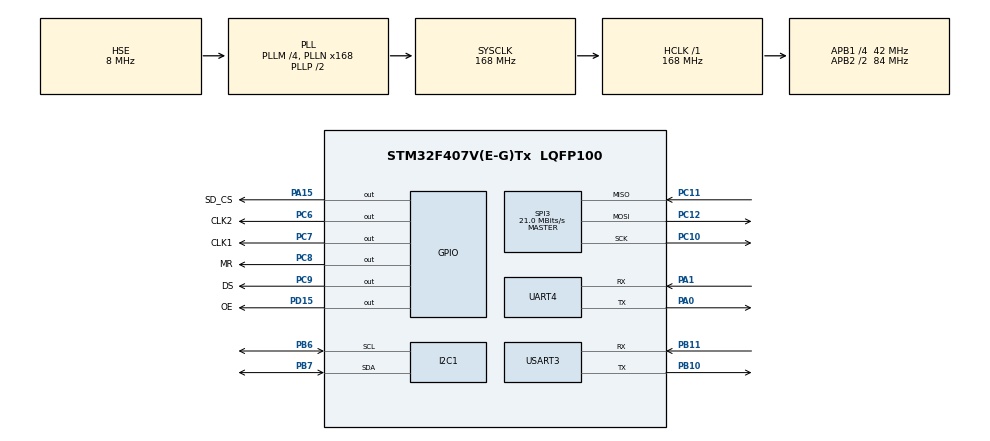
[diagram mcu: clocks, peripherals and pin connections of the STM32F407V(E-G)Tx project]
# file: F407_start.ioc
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FATFS._MAX_SS=4096
FATFS._USE_LFN=1
Mcu.Family=STM32F4
Mcu.Name=STM32F407V(E-G)Tx
Mcu.Package=LQFP100
NVIC.PriorityGroup=NVIC_PRIORITYGROUP_4
NVIC.TIM2_IRQn=true\:0\:0\:false\:false\:true\:true\:true\:true
NVIC.TIM3_IRQn=true\:0\:0\:false\:false\:true\:true\:true\:true
NVIC.USART3_IRQn=true\:0\:0\:false\:false\:true\:true\:true\:true
PA0-WKUP.Mode=Asynchronous
PA0-WKUP.Signal=UART4_TX
PA1.Mode=Asynchronous
PA1.Signal=UART4_RX
PA13.Mode=Serial_Wire
PA13.Signal=SYS_JTMS-SWDIO
PA14.Mode=Serial_Wire
PA14.Signal=SYS_JTCK-SWCLK
PA15.GPIO_Label=SD_CS
PA15.Signal=GPIO_Output
PB10.Mode=Asynchronous
PB10.Signal=USART3_TX
PB11.Mode=Asynchronous
PB11.Signal=USART3_RX
PB6.GPIO_Mode=GPIO_MODE_AF_OD
PB6.GPIO_Pu=GPIO_NOPULL
PB6.GPIO_Speed=GPIO_SPEED_FREQ_VERY_HIGH
PB6.Mode=I2C
PB6.Signal=I2C1_SCL
PB7.GPIO_Mode=GPIO_MODE_AF_OD
PB7.GPIO_Pu=GPIO_NOPULL
PB7.GPIO_Speed=GPIO_SPEED_FREQ_VERY_HIGH
PB7.Mode=I2C
PB7.Signal=I2C1_SDA
PC10.Mode=Full_Duplex_Master
PC10.Signal=SPI3_SCK
PC11.Mode=Full_Duplex_Master
PC11.Signal=SPI3_MISO
PC12.Mode=Full_Duplex_Master
PC12.Signal=SPI3_MOSI
PC6.GPIO_Label=CLK2
PC6.Signal=GPIO_Output
PC7.GPIO_Label=CLK1
PC7.Signal=GPIO_Output
PC8.GPIO_Label=MR
PC8.Signal=GPIO_Output
PC9.GPIO_Label=DS
PC9.Signal=GPIO_Output
PD15.GPIO_Label=OE
PD15.Signal=GPIO_Output
PH0-OSC_IN.Mode=HSE-External-Oscillator
PH0-OSC_IN.Signal=RCC_OSC_IN
PH1-OSC_OUT.Mode=HSE-External-Oscillator
PH1-OSC_OUT.Signal=RCC_OSC_OUT
ProjectManager.HeapSize=0x200
ProjectManager.StackSize=0x400
ProjectManager.TargetToolchain=STM32CubeIDE
RCC.48MHZClocksFreq_Value=84000000
RCC.AHBFreq_Value=168000000
RCC.APB1CLKDivider=RCC_HCLK_DIV4
RCC.APB1Freq_Value=42000000
RCC.APB1TimFreq_Value=84000000
RCC.APB2CLKDivider=RCC_HCLK_DIV2
RCC.APB2Freq_Value=84000000
RCC.APB2TimFreq_Value=168000000
RCC.CortexFreq_Value=168000000
RCC.HCLKFreq_Value=168000000
RCC.HSE_VALUE=8000000
RCC.HSI_VALUE=16000000
RCC.LSE_VALUE=32768
RCC.PLLM=4
RCC.PLLN=168
RCC.PLLSourceVirtual=RCC_PLLSOURCE_HSE
RCC.SYSCLKFreq_VALUE=168000000
RCC.SYSCLKSource=RCC_SYSCLKSOURCE_PLLCLK
RCC.VCOOutputFreq_Value=336000000
SPI3.CalculateBaudRate=21.0 MBits/s
SPI3.Direction=SPI_DIRECTION_2LINES
SPI3.Mode=SPI_MODE_MASTER
SPI3.VirtualType=VM_MASTER
TIM2.Period=4999
TIM2.Prescaler=83
TIM3.Period=65535
TIM3.Prescaler=1249
UART4.VirtualMode=Asynchronous
USART3.VirtualMode=VM_ASYNC
VP_FATFS_VS_Generic.Mode=User_defined
VP_TIM2_VS_ClockSourceINT.Mode=Internal
VP_TIM3_VS_ClockSourceINT.Mode=Internal
board=custom

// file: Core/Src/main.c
/* USER CODE BEGIN Header */
/**
  ******************************************************************************
  * @file           : main.c
  * @brief          : Main program body
  ******************************************************************************
  * @attention
  *
  * Copyright (c) 2024 STMicroelectronics.
  * All rights reserved.
  *
  * This software is licensed under terms that can be found in the LICENSE file
  * in the root directory of this software component.
  * If no LICENSE file comes with this software, it is provided AS-IS.
  *
  ******************************************************************************
  */
/* USER CODE END Header */
#include "main.h"
#include "fatfs.h"

/* USER CODE BEGIN Includes */
#include "ds3231.h"
#include "fatfs_sd.h"
#include "string.h"
#include "stdlib.h"
#include "midi.h"
#include "flash_service.h"
#include "server.h"
//#include "handlers/time_handlers.h"
/* USER CODE END Includes */

I2C_HandleTypeDef hi2c1;

SPI_HandleTypeDef hspi3;

TIM_HandleTypeDef htim2;
TIM_HandleTypeDef htim3;

UART_HandleTypeDef huart4;
UART_HandleTypeDef huart3;

void SystemClock_Config(void);
static void MX_GPIO_Init(void);
static void MX_TIM2_Init(void);
static void MX_SPI3_Init(void);
static void MX_UART4_Init(void);
static void MX_USART3_UART_Init(void);
static void MX_I2C1_Init(void);
static void MX_TIM3_Init(void);

/* USER CODE BEGIN 0 */

void shift_reg_init(){
	HAL_GPIO_WritePin(MR_GPIO_Port, MR_Pin, 1);
	HAL_GPIO_WritePin(OE_GPIO_Port, OE_Pin, 0);
}

void put_val_to_shift_reg(uint16_t val){
	int c = 0;
	while(c < 16){
		HAL_GPIO_WritePin(DS_GPIO_Port, DS_Pin, val & 1);
		val >>= 1;
		HAL_GPIO_WritePin(CLK1_GPIO_Port, CLK1_Pin, 1);
		HAL_GPIO_WritePin(CLK1_GPIO_Port, CLK1_Pin, 0);
		c++;
	}
	HAL_GPIO_WritePin(CLK2_GPIO_Port, CLK2_Pin, 1);
	HAL_GPIO_WritePin(CLK2_GPIO_Port, CLK2_Pin, 0);
}

void clear_shift_reg(){
	HAL_GPIO_WritePin(MR_GPIO_Port, MR_Pin, 0);
	HAL_GPIO_WritePin(MR_GPIO_Port, MR_Pin, 1);

	HAL_GPIO_WritePin(CLK2_GPIO_Port, CLK2_Pin, 1);
	HAL_GPIO_WritePin(CLK2_GPIO_Port, CLK2_Pin, 0);
}

FATFS fs;
FIL fil;
FILINFO finfo;
FRESULT fresult;
char buffer[1024];

UINT br, bw;

MidiPlaybackContext playback_ctx;
extern TIME time;

void HAL_TIM_PeriodElapsedCallback(TIM_HandleTypeDef *htim) {
	if (htim == &htim3){
        DS3231_Get_Time();
        send_time();
        checkAlarmsNonBlocking();
        processAlarm();
	}
    if (htim == &htim2) {
//    	char dbg[128];
//    	static uint32_t last_time = 0;
//    	uint32_t now = HAL_GetTick();  // in ms
//    	sprintf(dbg, "Time last callback: %lu ms\r\n", now - last_time);
//    	last_time = now;
//		send_uart(dbg);
		process_midi_event(&playback_ctx);
    }
}

void send_uart (char *string){
	uint8_t len = strlen(string);
	HAL_UART_Transmit(&huart4, (uint8_t *) string , len, -1);
}

int bufsize( char *buf){
	int i=0;
	while(*buf++ != '\0') i++;
	return i;
}

void bufclear (void)
{
	for (int i = 0; i < 1024; i++){
		buffer[i] = '\0';
	}
}

void get_sd_dirs(char *path){
	send_uart("READING MEMORY xD \n\r");
	DIR dir;
	char string[128];

	FRESULT res = f_opendir(&dir, path);

	if (res != FR_OK){
		sprintf(string, "res = %d f_opendir\n\r", res);
		send_uart(string);
	}

	if (res == FR_OK)
	{
	  while(1)
	  {
		FILINFO fno;

		res = f_readdir(&dir, &fno);

		if (res != FR_OK){
			sprintf(string, "res = %d f_readdir\n\r", res);
			send_uart(string);
		}

		if ((res != FR_OK) || (fno.fname[0] == 0))
		  break;

		sprintf(string, "%c%c%c%c %10d %s/%s\n\r",
		  ((fno.fattrib & AM_DIR) ? 'D' : '-'),
		  ((fno.fattrib & AM_RDO) ? 'R' : '-'),
		  ((fno.fattrib & AM_SYS) ? 'S' : '-'),
		  ((fno.fattrib & AM_HID) ? 'H' : '-'),
		  (int)fno.fsize, path, fno.fname);

		send_uart(string);
	  }
	}
}

void send_time() {
  if (should_send_time()) {
//	  send_uart("send time\r\n");
	SyncTime cur;
	cur.day = time.dayofmonth;
	cur.month = time.month;
	cur.year = time.year + 2000; // Точно проверь пж
	cur.hours = time.hour;
	cur.minutes = time.minutes;
	cur.seconds = time.seconds;
	send_command(SEP_SERVER_TIME, &cur);
  }
}

/* USER CODE END 0 */

int main(void)
{

  /* MCU Configuration--------------------------------------------------------*/

  /* Reset of all peripherals, Initializes the Flash interface and the Systick. */
  HAL_Init();

  /* Configure the system clock */
  SystemClock_Config();

  /* Initialize all configured peripherals */
  MX_GPIO_Init();
  MX_TIM2_Init();
  MX_FATFS_Init();
  MX_SPI3_Init();
  MX_UART4_Init();
  MX_USART3_UART_Init();
  MX_I2C1_Init();
  MX_TIM3_Init();
  /* USER CODE BEGIN 2 */

  HAL_Delay(1000);
  send_uart ("Lift off\n\r");
  shift_reg_init();

  fresult = f_mount(&fs, "", 0);
  if (fresult != FR_OK) send_uart ("error in mounting SD CARD ... \n\r");
  else send_uart("SD CARD mounted successfully...\n\r");

  /* USER CODE END 2 */

  /* Infinite loop */
  /* USER CODE BEGIN WHILE */

//  init_server();
//  HAL_TIM_Base_Start_IT(&htim3);
//  initAlarm();
  uint signal = 30;
  char dbg[64];
  while(1){
	  uint8_t byte;
	  HAL_UART_Receive(&huart4, &byte, 1, -1);
//	  put_val_to_shift_reg(1 << 6 | 1 << 7);
//	  HAL_Delay(signal);
//	  clear_shift_reg();
//	  signal+=10;
//	  sprintf(dbg, "signal = %d\n\r", signal);
//	  send_uart(dbg);
	  play_midi("two_bells8.mid");
  }
  while (1)
  {
	  handle_command();
	  handle_packet();
    handle_send_buffer();
	  send_time();
  }

    /* USER CODE END WHILE */

    /* USER CODE BEGIN 3 */

  fresult = f_mount(NULL, "/", 1);
  if (fresult == FR_OK) send_uart ("SD CARD UNMOUNTED successfully...\n\r");
  /* USER CODE END 3 */
}

void SystemClock_Config(void)
{
  RCC_OscInitTypeDef RCC_OscInitStruct = {0};
  RCC_ClkInitTypeDef RCC_ClkInitStruct = {0};

  /** Configure the main internal regulator output voltage
  */
  __HAL_RCC_PWR_CLK_ENABLE();
  __HAL_PWR_VOLTAGESCALING_CONFIG(PWR_REGULATOR_VOLTAGE_SCALE1);

  /** Initializes the RCC Oscillators according to the specified parameters
  * in the RCC_OscInitTypeDef structure.
  */
  RCC_OscInitStruct.OscillatorType = RCC_OSCILLATORTYPE_HSE;
  RCC_OscInitStruct.HSEState = RCC_HSE_ON;
  RCC_OscInitStruct.PLL.PLLState = RCC_PLL_ON;
  RCC_OscInitStruct.PLL.PLLSource = RCC_PLLSOURCE_HSE;
  RCC_OscInitStruct.PLL.PLLM = 4;
  RCC_OscInitStruct.PLL.PLLN = 168;
  RCC_OscInitStruct.PLL.PLLP = RCC_PLLP_DIV2;
  RCC_OscInitStruct.PLL.PLLQ = 4;
  if (HAL_RCC_OscConfig(&RCC_OscInitStruct) != HAL_OK)
  {
    Error_Handler();
  }

  /** Initializes the CPU, AHB and APB buses clocks
  */
  RCC_ClkInitStruct.ClockType = RCC_CLOCKTYPE_HCLK|RCC_CLOCKTYPE_SYSCLK
                              |RCC_CLOCKTYPE_PCLK1|RCC_CLOCKTYPE_PCLK2;
  RCC_ClkInitStruct.SYSCLKSource = RCC_SYSCLKSOURCE_PLLCLK;
  RCC_ClkInitStruct.AHBCLKDivider = RCC_SYSCLK_DIV1;
  RCC_ClkInitStruct.APB1CLKDivider = RCC_HCLK_DIV4;
  RCC_ClkInitStruct.APB2CLKDivider = RCC_HCLK_DIV2;

  if (HAL_RCC_ClockConfig(&RCC_ClkInitStruct, FLASH_LATENCY_5) != HAL_OK)
  {
    Error_Handler();
  }
}

static void MX_I2C1_Init(void)
{

  hi2c1.Instance = I2C1;
  hi2c1.Init.ClockSpeed = 100000;
  hi2c1.Init.DutyCycle = I2C_DUTYCYCLE_2;
  hi2c1.Init.OwnAddress1 = 0;
  hi2c1.Init.AddressingMode = I2C_ADDRESSINGMODE_7BIT;
  hi2c1.Init.DualAddressMode = I2C_DUALADDRESS_DISABLE;
  hi2c1.Init.OwnAddress2 = 0;
  hi2c1.Init.GeneralCallMode = I2C_GENERALCALL_DISABLE;
  hi2c1.Init.NoStretchMode = I2C_NOSTRETCH_DISABLE;
  if (HAL_I2C_Init(&hi2c1) != HAL_OK)
  {
    Error_Handler();
  }

}

static void MX_SPI3_Init(void)
{

  /* SPI3 parameter configuration*/
  hspi3.Instance = SPI3;
  hspi3.Init.Mode = SPI_MODE_MASTER;
  hspi3.Init.Direction = SPI_DIRECTION_2LINES;
  hspi3.Init.DataSize = SPI_DATASIZE_8BIT;
  hspi3.Init.CLKPolarity = SPI_POLARITY_LOW;
  hspi3.Init.CLKPhase = SPI_PHASE_1EDGE;
  hspi3.Init.NSS = SPI_NSS_SOFT;
  hspi3.Init.BaudRatePrescaler = SPI_BAUDRATEPRESCALER_2;
  hspi3.Init.FirstBit = SPI_FIRSTBIT_MSB;
  hspi3.Init.TIMode = SPI_TIMODE_DISABLE;
  hspi3.Init.CRCCalculation = SPI_CRCCALCULATION_DISABLE;
  hspi3.Init.CRCPolynomial = 10;
  if (HAL_SPI_Init(&hspi3) != HAL_OK)
  {
    Error_Handler();
  }

}

static void MX_TIM2_Init(void)
{

  TIM_ClockConfigTypeDef sClockSourceConfig = {0};
  TIM_MasterConfigTypeDef sMasterConfig = {0};

  htim2.Instance = TIM2;
  htim2.Init.Prescaler = 83;
  htim2.Init.CounterMode = TIM_COUNTERMODE_UP;
  htim2.Init.Period = 4999;
  htim2.Init.ClockDivision = TIM_CLOCKDIVISION_DIV1;
  htim2.Init.AutoReloadPreload = TIM_AUTORELOAD_PRELOAD_DISABLE;
  if (HAL_TIM_Base_Init(&htim2) != HAL_OK)
  {
    Error_Handler();
  }
  sClockSourceConfig.ClockSource = TIM_CLOCKSOURCE_INTERNAL;
  if (HAL_TIM_ConfigClockSource(&htim2, &sClockSourceConfig) != HAL_OK)
  {
    Error_Handler();
  }
  sMasterConfig.MasterOutputTrigger = TIM_TRGO_RESET;
  sMasterConfig.MasterSlaveMode = TIM_MASTERSLAVEMODE_DISABLE;
  if (HAL_TIMEx_MasterConfigSynchronization(&htim2, &sMasterConfig) != HAL_OK)
  {
    Error_Handler();
  }

}

static void MX_TIM3_Init(void)
{

  TIM_ClockConfigTypeDef sClockSourceConfig = {0};
  TIM_MasterConfigTypeDef sMasterConfig = {0};

  htim3.Instance = TIM3;
  htim3.Init.Prescaler = 1249;
  htim3.Init.CounterMode = TIM_COUNTERMODE_UP;
  htim3.Init.Period = 65535;
  htim3.Init.ClockDivision = TIM_CLOCKDIVISION_DIV1;
  htim3.Init.AutoReloadPreload = TIM_AUTORELOAD_PRELOAD_DISABLE;
  if (HAL_TIM_Base_Init(&htim3) != HAL_OK)
  {
    Error_Handler();
  }
  sClockSourceConfig.ClockSource = TIM_CLOCKSOURCE_INTERNAL;
  if (HAL_TIM_ConfigClockSource(&htim3, &sClockSourceConfig) != HAL_OK)
  {
    Error_Handler();
  }
  sMasterConfig.MasterOutputTrigger = TIM_TRGO_RESET;
  sMasterConfig.MasterSlaveMode = TIM_MASTERSLAVEMODE_DISABLE;
  if (HAL_TIMEx_MasterConfigSynchronization(&htim3, &sMasterConfig) != HAL_OK)
  {
    Error_Handler();
  }

}

static void MX_UART4_Init(void)
{

  huart4.Instance = UART4;
  huart4.Init.BaudRate = 115200;
  huart4.Init.WordLength = UART_WORDLENGTH_8B;
  huart4.Init.StopBits = UART_STOPBITS_1;
  huart4.Init.Parity = UART_PARITY_NONE;
  huart4.Init.Mode = UART_MODE_TX_RX;
  huart4.Init.HwFlowCtl = UART_HWCONTROL_NONE;
  huart4.Init.OverSampling = UART_OVERSAMPLING_16;
  if (HAL_UART_Init(&huart4) != HAL_OK)
  {
    Error_Handler();
  }

}

static void MX_USART3_UART_Init(void)
{

  huart3.Instance = USART3;
  huart3.Init.BaudRate = 115200;
  huart3.Init.WordLength = UART_WORDLENGTH_8B;
  huart3.Init.StopBits = UART_STOPBITS_1;
  huart3.Init.Parity = UART_PARITY_NONE;
  huart3.Init.Mode = UART_MODE_TX_RX;
  huart3.Init.HwFlowCtl = UART_HWCONTROL_NONE;
  huart3.Init.OverSampling = UART_OVERSAMPLING_16;
  if (HAL_UART_Init(&huart3) != HAL_OK)
  {
    Error_Handler();
  }

}

static void MX_GPIO_Init(void)
{
  GPIO_InitTypeDef GPIO_InitStruct = {0};

  /* GPIO Ports Clock Enable */
  __HAL_RCC_GPIOH_CLK_ENABLE();
  __HAL_RCC_GPIOA_CLK_ENABLE();
  __HAL_RCC_GPIOB_CLK_ENABLE();
  __HAL_RCC_GPIOD_CLK_ENABLE();
  __HAL_RCC_GPIOC_CLK_ENABLE();

  /*Configure GPIO pin Output Level */
  HAL_GPIO_WritePin(OE_GPIO_Port, OE_Pin, GPIO_PIN_RESET);

  /*Configure GPIO pin Output Level */
  HAL_GPIO_WritePin(GPIOC, CLK2_Pin|CLK1_Pin|MR_Pin|DS_Pin, GPIO_PIN_RESET);

  /*Configure GPIO pin Output Level */
  HAL_GPIO_WritePin(SD_CS_GPIO_Port, SD_CS_Pin, GPIO_PIN_RESET);

  /*Configure GPIO pin : OE_Pin */
  GPIO_InitStruct.Pin = OE_Pin;
  GPIO_InitStruct.Mode = GPIO_MODE_OUTPUT_PP;
  GPIO_InitStruct.Pull = GPIO_NOPULL;
  GPIO_InitStruct.Speed = GPIO_SPEED_FREQ_LOW;
  HAL_GPIO_Init(OE_GPIO_Port, &GPIO_InitStruct);

  /*Configure GPIO pins : CLK2_Pin CLK1_Pin MR_Pin DS_Pin */
  GPIO_InitStruct.Pin = CLK2_Pin|CLK1_Pin|MR_Pin|DS_Pin;
  GPIO_InitStruct.Mode = GPIO_MODE_OUTPUT_PP;
  GPIO_InitStruct.Pull = GPIO_NOPULL;
  GPIO_InitStruct.Speed = GPIO_SPEED_FREQ_LOW;
  HAL_GPIO_Init(GPIOC, &GPIO_InitStruct);

  /*Configure GPIO pin : SD_CS_Pin */
  GPIO_InitStruct.Pin = SD_CS_Pin;
  GPIO_InitStruct.Mode = GPIO_MODE_OUTPUT_PP;
  GPIO_InitStruct.Pull = GPIO_NOPULL;
  GPIO_InitStruct.Speed = GPIO_SPEED_FREQ_LOW;
  HAL_GPIO_Init(SD_CS_GPIO_Port, &GPIO_InitStruct);

}

void Error_Handler(void)
{
  __disable_irq();
  while (1)
  {
  }
}
